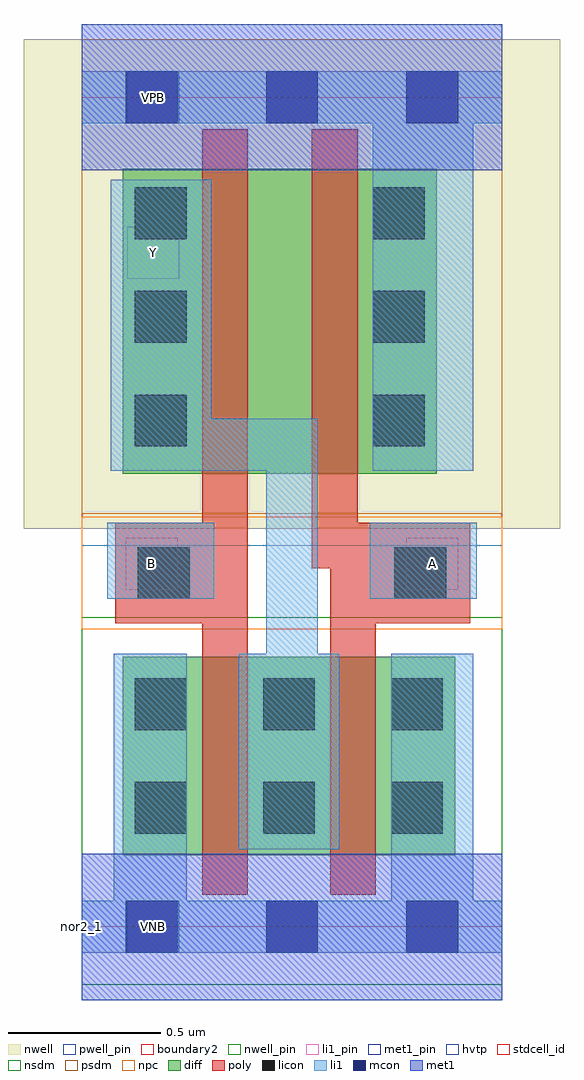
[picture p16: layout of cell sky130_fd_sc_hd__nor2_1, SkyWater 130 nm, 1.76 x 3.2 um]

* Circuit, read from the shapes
.subckt sky130_fd_sc_hd__nor2_1 A B VGND VNB VPB VPWR Y
XM1 Y B VGND VNB sky130_fd_pr__nfet_01v8 w=0.65 l=0.15
XM2 VGND A Y VNB sky130_fd_pr__nfet_01v8 w=0.65 l=0.15
XM3 n1 B Y VPB sky130_fd_pr__pfet_01v8_hvt w=1 l=0.15
XM4 VPWR A n1 VPB sky130_fd_pr__pfet_01v8_hvt w=1 l=0.15
.ends

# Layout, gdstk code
import gdstk
lib = gdstk.Library(unit=1e-6, precision=1e-09)
def R(c, l, rs):  # rectangles x0, y0, x1, y1
    for r in rs: c.add(gdstk.rectangle(r[:2], r[2:], *l))
def A(c, l, x, y, w, h, nx, ny, dx, dy):  # array of equal rectangles
    R(c, l, [(x+i*dx, y+j*dy, x+i*dx+w, y+j*dy+h) for i in range(nx) for j in range(ny)])
def P(c, l, *ps):  # polygons
    for p in ps: c.add(gdstk.Polygon(p, *l))
nwell_pin = (64, 16)
nwell = (64, 20)
diff = (65, 20)
poly = (66, 20)
licon = (66, 44)
li1_pin = (67, 16)
li1 = (67, 20)
mcon = (67, 44)
met1_pin = (68, 16)
met1 = (68, 20)
hvtp = (78, 44)
stdcell_id = (81, 4)
nsdm = (93, 44)
psdm = (94, 20)
npc = (95, 20)
pwell_pin = (122, 16)
boundary2 = (236, 0)

sky130_fd_sc_hd__nor2_1 = lib.new_cell('sky130_fd_sc_hd__nor2_1')
R(sky130_fd_sc_hd__nor2_1, nwell_pin, [(0.15,2.635,0.32,2.805)])
R(sky130_fd_sc_hd__nor2_1, nwell, [(-0.19,1.305,1.57,2.91)])
R(sky130_fd_sc_hd__nor2_1, diff, [(0.135,0.235,1.225,0.885), (0.135,1.485,1.165,2.485)])
P(sky130_fd_sc_hd__nor2_1, poly, [(1.275,1.325),(0.905,1.325),(0.905,2.615),(0.755,2.615),(0.755,1.175),(0.815,1.175),(0.815,0.105),(0.965,0.105),(0.965,0.995),(1.275,0.995)],
  [(0.545,2.615),(0.395,2.615),(0.395,1.325),(0.11,1.325),(0.11,0.995),(0.395,0.995),(0.395,0.105),(0.545,0.105)])
A(sky130_fd_sc_hd__nor2_1, licon, 0.175, 0.305, 0.17, 0.17, 3, 2, 0.42, 0.34)
A(sky130_fd_sc_hd__nor2_1, licon, 0.175, 1.575, 0.17, 0.17, 1, 3, 0, 0.34)
A(sky130_fd_sc_hd__nor2_1, licon, 0.955, 1.575, 0.17, 0.17, 1, 3, 0, 0.34)
R(sky130_fd_sc_hd__nor2_1, licon, [(0.185,1.075,0.355,1.245), (1.025,1.075,1.195,1.245)])
R(sky130_fd_sc_hd__nor2_1, li1_pin, [(0.145,1.105,0.315,1.275), (1.065,1.105,1.235,1.275), (0.15,2.125,0.32,2.295)])
R(sky130_fd_sc_hd__nor2_1, li1, [(0.085,1.075,0.435,1.325), (0.945,1.075,1.295,1.325)])
P(sky130_fd_sc_hd__nor2_1, li1, [(1.38,0.085),(1.285,0.085),(1.285,0.895),(1.015,0.895),(1.015,0.085),(0.345,0.085),(0.345,0.895),(0.105,0.895),(0.105,0.085),(0,0.085),(0,-0.085),(1.38,-0.085)],
  [(1.38,2.805),(0,2.805),(0,2.635),(0.955,2.635),(0.955,1.495),(1.285,1.495),(1.285,2.635),(1.38,2.635)],
  [(0.845,0.895),(0.775,0.895),(0.775,1.665),(0.425,1.665),(0.425,2.45),(0.095,2.45),(0.095,1.495),(0.605,1.495),(0.605,0.895),(0.515,0.895),(0.515,0.255),(0.845,0.255)])
A(sky130_fd_sc_hd__nor2_1, mcon, 0.145, -0.085, 0.17, 0.17, 3, 2, 0.46, 2.72)
R(sky130_fd_sc_hd__nor2_1, met1_pin, [(0.15,-0.085,0.32,0.085), (0.15,2.635,0.32,2.805)])
R(sky130_fd_sc_hd__nor2_1, hvtp, [(0,1.25,1.38,2.72)])
R(sky130_fd_sc_hd__nor2_1, stdcell_id, [(0,0,1.38,2.72)])
R(sky130_fd_sc_hd__nor2_1, nsdm, [(0,-0.19,1.38,1.015)])
R(sky130_fd_sc_hd__nor2_1, psdm, [(0,1.355,1.38,2.91)])
R(sky130_fd_sc_hd__nor2_1, npc, [(0,0.975,1.38,1.345)])
R(sky130_fd_sc_hd__nor2_1, pwell_pin, [(0.15,-0.085,0.32,0.085)])
R(sky130_fd_sc_hd__nor2_1, boundary2, [(0,0,1.38,2.72)])
sky130_fd_sc_hd__nor2_1.add(gdstk.FlexPath([(0,2.72),(1.38,2.72)], 0.48, ends="flush", simple_path=True, layer=68, datatype=20))  # met1
sky130_fd_sc_hd__nor2_1.add(gdstk.FlexPath([(0,0),(1.38,0)], 0.48, ends="flush", simple_path=True, layer=68, datatype=20))  # met1
sky130_fd_sc_hd__nor2_1.add(gdstk.Label('B', (0.23,1.19), layer=67, texttype=5))
sky130_fd_sc_hd__nor2_1.add(gdstk.Label('Y', (0.235,2.21), layer=67, texttype=5))
sky130_fd_sc_hd__nor2_1.add(gdstk.Label('A', (1.15,1.19), layer=67, texttype=5))
sky130_fd_sc_hd__nor2_1.add(gdstk.Label('VPB', (0.235,2.72), layer=64, texttype=5))
sky130_fd_sc_hd__nor2_1.add(gdstk.Label('VNB', (0.235,0), layer=64, texttype=59))
sky130_fd_sc_hd__nor2_1.add(gdstk.Label('VGND', (0.23,0), layer=68, texttype=5))
sky130_fd_sc_hd__nor2_1.add(gdstk.Label('VPWR', (0.23,2.72), layer=68, texttype=5))
sky130_fd_sc_hd__nor2_1.add(gdstk.Label('nor2_1', (0,0), layer=83, texttype=44))

lib.write_gds('sky130_fd_sc_hd__nor2_1.gds')
